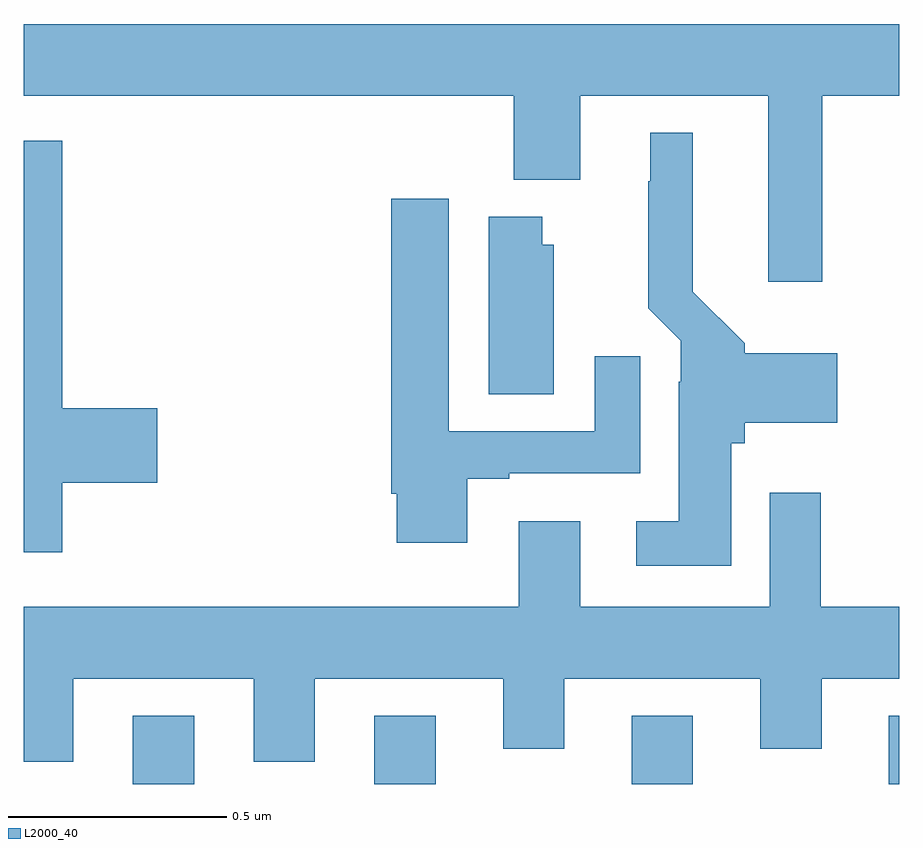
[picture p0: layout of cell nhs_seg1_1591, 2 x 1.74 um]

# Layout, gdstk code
import gdstk
lib = gdstk.Library(unit=1e-6, precision=1e-09)
def R(c, l, rs):  # rectangles x0, y0, x1, y1
    for r in rs: c.add(gdstk.rectangle(r[:2], r[2:], *l))
def P(c, l, *ps):  # polygons
    for p in ps: c.add(gdstk.Polygon(p, *l))
L2000_40 = (2000, 40)

nhs_seg1_1591 = lib.new_cell('nhs_seg1_1591')
R(nhs_seg1_1591, L2000_40, [(131.249,510.199,131.389,510.355), (131.801,510.199,131.941,510.355), (132.389,510.199,132.529,510.355), (132.977,510.199,133,510.355)])
P(nhs_seg1_1591, L2000_40, [(132.824,511.772),(133,511.772),(133,511.936),(131,511.936),(131,511.772),(132.119,511.772),(132.119,511.58),(132.271,511.58),(132.271,511.772),(132.701,511.772),(132.701,511.347),(132.824,511.347)],
  [(132.616,510.978),(132.647,510.978),(132.647,511.025),(132.859,511.025),(132.859,511.183),(132.647,511.183),(132.647,511.206),(132.529,511.324),(132.529,511.687),(132.431,511.687),(132.431,511.577),(132.427,511.577),(132.427,511.286),(132.501,511.212),(132.501,511.118),(132.497,511.118),(132.497,510.799),(132.399,510.799),(132.399,510.698),(132.616,510.698)],
  [(131.087,510.887),(131.305,510.887),(131.305,511.058),(131.087,511.058),(131.087,511.669),(131,511.669),(131,510.729),(131.087,510.729)],
  [(132.013,510.897),(132.109,510.897),(132.109,510.909),(132.409,510.909),(132.409,511.177),(132.305,511.177),(132.305,511.005),(131.971,511.005),(131.971,511.537),(131.84,511.537),(131.84,510.862),(131.852,510.862),(131.852,510.75),(132.013,510.75)],
  [(132.211,511.431),(132.184,511.431),(132.184,511.495),(132.062,511.495),(132.062,511.09),(132.211,511.09)],
  [(131.113,510.44),(131.525,510.44),(131.525,510.25),(131.665,510.25),(131.665,510.44),(132.095,510.44),(132.095,510.28),(132.235,510.28),(132.235,510.44),(132.683,510.44),(132.683,510.28),(132.823,510.28),(132.823,510.44),(133,510.44),(133,510.604),(132.821,510.604),(132.821,510.865),(132.705,510.865),(132.705,510.604),(132.271,510.604),(132.271,510.799),(132.131,510.799),(132.131,510.604),(131,510.604),(131,510.25),(131.113,510.25)])

lib.write_gds('nhs_seg1_1591.gds')
